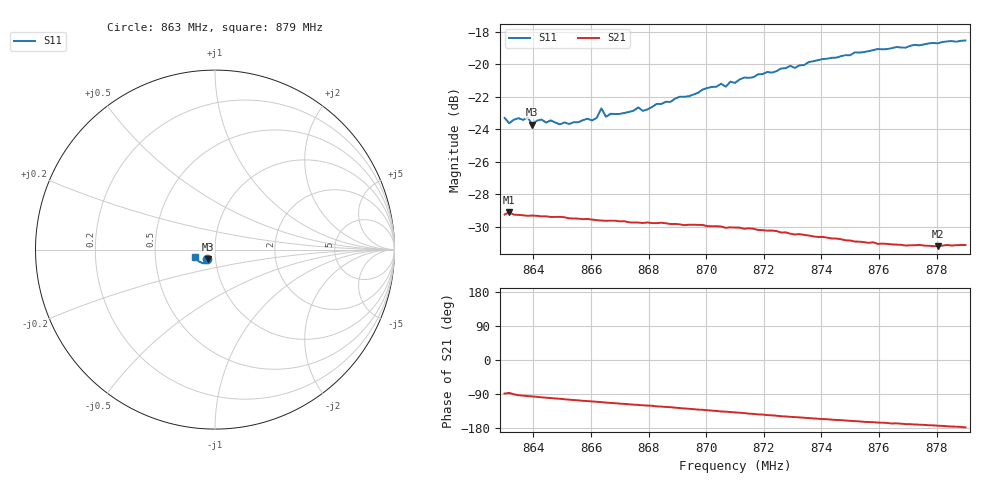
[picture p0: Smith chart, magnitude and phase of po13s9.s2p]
# HZ S RI R 50
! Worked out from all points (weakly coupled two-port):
!   101 points, 863 MHz to 879 MHz, reference 50 ohm
!   highest |S21| = -29.12 dB at 863.16 MHz (marker M1); lowest = -31.2 dB at 878.04 MHz (marker M2)
!   lowest |S11| = -23.7 dB at 863.96 MHz (marker M3), VSWR 1.14, Z = 46 - j4.82 ohm
!   |S11| at or under -10 dB: start of sweep to end of sweep
!   S12 and S22 are empty: the file has one direction only
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8.63e8  -0.0429 -0.0532  0.000859 -0.0344  0 0  0 0
8.6316e8  -0.0376 -0.0541  0.00185 -0.035  0 0  0 0
8.638e8  -0.0418 -0.0544  -0.00302 -0.034  0 0  0 0
8.6396e8  -0.0392 -0.0522  -0.00367 -0.034  0 0  0 0
8.6428e8  -0.0387 -0.0555  -0.00501 -0.0337  0 0  0 0
8.6492e8  -0.0411 -0.0508  -0.00729 -0.0331  0 0  0 0
8.6572e8  -0.0336 -0.0583  -0.0102 -0.0318  0 0  0 0
8.662e8  -0.0354 -0.0586  -0.0115 -0.0311  0 0  0 0
8.6636e8  -0.0421 -0.0598  -0.0118 -0.0308  0 0  0 0
8.6652e8  -0.0338 -0.0601  -0.0125 -0.0305  0 0  0 0
8.6764e8  -0.035 -0.0648  -0.0155 -0.0286  0 0  0 0
8.678e8  -0.0341 -0.0633  -0.016 -0.0282  0 0  0 0
8.6844e8  -0.0357 -0.0665  -0.0177 -0.0273  0 0  0 0
8.7052e8  -0.0463 -0.0739  -0.0227 -0.022  0 0  0 0
8.7068e8  -0.0441 -0.073  -0.0227 -0.0216  0 0  0 0
8.7084e8  -0.0484 -0.074  -0.0231 -0.0213  0 0  0 0
8.71e8  -0.047 -0.074  -0.0234 -0.0209  0 0  0 0
8.7132e8  -0.0495 -0.0764  -0.0238 -0.02  0 0  0 0
8.7372e8  -0.0684 -0.076  -0.0266 -0.0129  0 0  0 0
8.7644e8  -0.0933 -0.0621  -0.0272 -0.00605  0 0  0 0
8.7804e8  -0.1051 -0.0493  -0.0274 -0.00314  0 0  0 0
8.79e8  -0.1116 -0.0396  -0.0277 -0.00106  0 0  0 0
